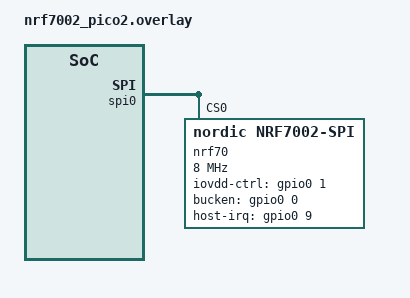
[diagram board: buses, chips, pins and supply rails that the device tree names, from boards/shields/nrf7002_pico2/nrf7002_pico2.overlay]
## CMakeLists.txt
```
cmake_minimum_required(VERSION 3.20.0)

list(APPEND ZEPHYR_EXTRA_MODULES ${CMAKE_CURRENT_LIST_DIR}/modules/pico_usbip_host)
list(APPEND DTS_ROOT ${CMAKE_CURRENT_LIST_DIR}/modules/pico_usbip_host)

find_package(Zephyr REQUIRED HINTS $ENV{ZEPHYR_BASE})
project(pico_usbip_host)

target_sources(app PRIVATE src/main.c)
```

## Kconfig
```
mainmenu "Pico USB/IP host"

config PICO_USBIP_AP_SSID
	string "SoftAP SSID"
	default "USB link"

config PICO_USBIP_AP_PSK
	string "SoftAP WPA2 passphrase (empty for open)"
	default "usbip12345"

config PICO_WIFI_PROBE_ONLY
	bool "Wi-Fi probe mode (LED indicates AP bring-up)"
	default n
	help
	  Minimal runtime for hardware bring-up.

source "Kconfig.zephyr"
```

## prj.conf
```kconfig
CONFIG_LOG=y
CONFIG_LOG_DEFAULT_LEVEL=3

CONFIG_MAIN_STACK_SIZE=12288
CONFIG_HEAP_MEM_POOL_SIZE=98304
CONFIG_SYSTEM_WORKQUEUE_STACK_SIZE=4096

# USB host + USB/IP
CONFIG_USB_HOST_STACK=y
CONFIG_USBIP=y
CONFIG_USBIP_BUF_POOL_SIZE=65536
CONFIG_USBIP_DEVICES_COUNT=2
CONFIG_USBIP_LOG_LEVEL_DBG=y
CONFIG_USBH_LOG_LEVEL_DBG=y
CONFIG_UHC_DRIVER_LOG_LEVEL_DBG=y

CONFIG_UHC_DRIVER=y
CONFIG_UHC_RP2350_PIO_USB=n
CONFIG_UHC_RP2_NATIVE_USB=y
CONFIG_UHC_RP2_NATIVE_USB_LOG_LEVEL_DBG=y

# UART debug console
CONFIG_SERIAL=y
CONFIG_CONSOLE=y
CONFIG_UART_CONSOLE=y

# Networking
CONFIG_NETWORKING=y
CONFIG_NET_IPV4=y
CONFIG_NET_IPV6=n
CONFIG_NET_TCP=y
CONFIG_NET_UDP=y
CONFIG_NET_SOCKETS=y
CONFIG_NET_LOG=y
CONFIG_NET_MAX_CONN=16

CONFIG_NET_DHCPV4=y
CONFIG_NET_DHCPV4_SERVER=y
CONFIG_NET_DHCPV4_SERVER_LOG_LEVEL_DBG=y
CONFIG_NET_DHCPV4_SERVER_ADDR_COUNT=16

CONFIG_NET_PKT_RX_COUNT=16
CONFIG_NET_PKT_TX_COUNT=16
CONFIG_NET_BUF_RX_COUNT=32
CONFIG_NET_BUF_TX_COUNT=32

CONFIG_NET_CONNECTION_MANAGER=y
CONFIG_NET_CONFIG_AUTO_INIT=n

# Wi-Fi (nRF7002 shield)
CONFIG_WIFI=y
CONFIG_WIFI_NM=y
CONFIG_WIFI_USAGE_MODE_STA_AP=y
CONFIG_WIFI_NM_WPA_SUPPLICANT=y
CONFIG_WIFI_NM_WPA_SUPPLICANT_AP=y

CONFIG_WIFI_NRF70=y
CONFIG_NRF70_SYSTEM_MODE=y

CONFIG_NRF70_STA_MODE=y
CONFIG_NRF70_ENABLE_DUAL_VIF=y

CONFIG_NET_L2_WIFI_MGMT=y
CONFIG_NET_L2_ETHERNET=y

CONFIG_NET_MGMT=y
CONFIG_NET_MGMT_EVENT=y
CONFIG_NET_MGMT_EVENT_INFO=y
CONFIG_NET_MGMT_EVENT_QUEUE_SIZE=16
CONFIG_NET_MGMT_EVENT_STACK_SIZE=4096

# Runtime corruption detection
CONFIG_ASSERT=y
CONFIG_INIT_STACKS=y
CONFIG_STACK_SENTINEL=y
# CONFIG_THREAD_STACK_INFO=y
# CONFIG_THREAD_NAME=y
# CONFIG_THREAD_ANALYZER=y

# Application Kconfig
CONFIG_PICO_USBIP_AP_SSID="USB link"
CONFIG_PICO_USBIP_AP_PSK="usbip12345"
```

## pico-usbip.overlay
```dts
/*
 * Copyright (c) 2026
 * SPDX-License-Identifier: Apache-2.0
 *
 * Direct-wire overlay for Pico 2 + nRF7002 + USB-IP host on rpi_pico2/rp2350a/m33.
 *
 * Wiring (Pico GP -> nRF7002-EK):
 *   GP2   -> CLK
 *   GP3   -> MOSI
 *   GP4   -> MISO
 *   GP5   -> SS/CSn (GPIO-managed CS)
 *   GP8   -> HOST_IRQ
 *   GP14  -> BUCK_EN
 *   GP15  -> IOVDD_EN
 *   GP16  -> UART0 TX
 *   GP17  -> UART0 RX
 *
 * COEX, SW_CTRL0 are intentionally left disconnected.
 */

#include <zephyr/dt-bindings/pinctrl/rpi-pico-rp2350a-pinctrl.h>
#include <zephyr/dt-bindings/gpio/gpio.h>

/ {
	zephyr,user {
		/* Host port VBUS enable*/
		vbus-gpios = <&gpio0 22 GPIO_ACTIVE_HIGH>;
	};

	/*
	 * RP2 native USB host controller used by USB/IP.
	 */
	zephyr_uhc0: pio_usb_uhc {
		compatible = "raspberrypi,rp2-usb-uhc";
		status = "okay";
	};

	/* Keep disabled to avoid duplicate native UHC nodes. */
	rp2_usb_uhc {
		compatible = "raspberrypi,rp2-usb-uhc";
		status = "disabled";
	};
};

&spi0 {
	/* Use GPIO-managed CS on GP5 for stable multi-byte transactions. */
	cs-gpios = <&gpio0 5 GPIO_ACTIVE_LOW>;
};

&pinctrl {
	uart0_gp16_gp17: uart0_gp16_gp17 {
		group1 {
			pinmux = <UART0_TX_P16>;
		};
		group2 {
			pinmux = <UART0_RX_P17>;
			input-enable;
		};
	};

	/* Keep hardware SSPFSS off; CS is driven by cs-gpios. */
	spi0_default: spi0_default {
		group1 {
			pinmux = <SPI0_SCK_P2>, <SPI0_TX_P3>;
		};
		group2 {
			pinmux = <SPI0_RX_P4>;
			input-enable;
		};
	};
};

&uart0 {
	pinctrl-0 = <&uart0_gp16_gp17>;
	pinctrl-names = "default";
	current-speed = <115200>;
	status = "okay";
};

&nrf70 {
	/* Override shield defaults with direct control pins. */
	iovdd-ctrl-gpios = <&gpio0 15 GPIO_ACTIVE_HIGH>;
	bucken-gpios = <&gpio0 14 GPIO_ACTIVE_HIGH>;
	host-irq-gpios = <&gpio0 8 GPIO_ACTIVE_HIGH>;

	spi-max-frequency = <25000000>;

	/* Required when CONFIG_NRF70_ENABLE_DUAL_VIF=y (STA+AP mode). */
	wlan1: wlan1 {
		compatible = "nordic,wlan";
	};
};
```

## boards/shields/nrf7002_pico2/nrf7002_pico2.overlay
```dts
/*
 *
 * Custom nRF7002 EK shield for rpi_pico2/rp2350a/m33 (Zephyr 4.1.0).
 *
 * Wires &spi0 directly to the nRF7002 using absolute gpio0 references.
 *
 * Pin mapping:
 *   BUCKEN      GP0   active-high, pull-down
 *   IOVDD_CTRL  GP1   active-high, pull-down
 *   HOST_IRQ    GP9   active-high
 *   SPI SCK     GP18  (SPI0_SCK via pinctrl)
 *   SPI MOSI    GP19  (SPI0_TX  via pinctrl)
 *   SPI MISO    GP16  (SPI0_RX  via pinctrl)
 *   SPI CS      GP17  — GPIO software CS, set by bustest.overlay
 */

#include <freq.h>
#include <zephyr/dt-bindings/gpio/gpio.h>

/ {
	chosen {
		zephyr,wifi = &wlan0;
	};
};

&spi0 {
	status = "okay";

	nrf70: nrf7002-spi@0 {
		compatible = "nordic,nrf7002-spi";
		status = "okay";
		reg = <0>;
		spi-max-frequency = <DT_FREQ_M(8)>;

		iovdd-ctrl-gpios = <&gpio0 1 (GPIO_ACTIVE_HIGH | GPIO_PULL_DOWN)>;
		bucken-gpios     = <&gpio0 0 (GPIO_ACTIVE_HIGH | GPIO_PULL_DOWN)>;
		host-irq-gpios   = <&gpio0 9 GPIO_ACTIVE_HIGH>;

		/* 2.4 GHz TX power ceilings (dBm) */
		wifi-max-tx-pwr-2g-dsss = <21>;
		wifi-max-tx-pwr-2g-mcs0 = <16>;
		wifi-max-tx-pwr-2g-mcs7 = <16>;

		/* 5 GHz TX power ceilings (dBm) */
		wifi-max-tx-pwr-5g-low-mcs0  = <13>;
		wifi-max-tx-pwr-5g-low-mcs7  = <13>;
		wifi-max-tx-pwr-5g-mid-mcs0  = <13>;
		wifi-max-tx-pwr-5g-mid-mcs7  = <13>;
		wifi-max-tx-pwr-5g-high-mcs0 = <12>;
		wifi-max-tx-pwr-5g-high-mcs7 = <12>;

		wlan0: wlan0 {
			compatible = "nordic,wlan";
		};
	};
};
```

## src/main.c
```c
#include <zephyr/kernel.h>
#include <zephyr/logging/log.h>
#include <zephyr/device.h>
#include <zephyr/devicetree.h>
#include <zephyr/drivers/gpio.h>
#include <zephyr/drivers/uart.h>
#include <errno.h>

#include <zephyr/net/dhcpv4_server.h>
#include <zephyr/net/net_if.h>
#include <zephyr/net/net_ip.h>
#include <zephyr/net/wifi_mgmt.h>

LOG_MODULE_REGISTER(app, LOG_LEVEL_INF);


static struct net_if *wifi_sap_iface(void)
{
	return net_if_get_wifi_sap();
}

static int configure_dhcpv4_server(struct net_if *iface, const char *addr_str)
{
	struct net_in_addr pool_base;
	struct net_in_addr addr;
	int ret;

	ret = net_addr_pton(NET_AF_INET, addr_str, &addr);
	if (ret) {
		LOG_ERR("Invalid address %s", addr_str);
		return ret;
	}

	pool_base = addr;
	pool_base.s4_addr[3] += 1U; /* First lease after AP address (e.g. .1 -> pool from .2) */

	return net_dhcpv4_server_start(iface, &pool_base);
}

static int configure_dhcpv4_server_with_retry(struct net_if *iface, const char *addr_str)
{
	int ret;

	for (int attempt = 0; attempt < 10; attempt++) {
		ret = configure_dhcpv4_server(iface, addr_str);
		if (ret != -ENOENT) {
			return ret;
		}

		LOG_WRN("DHCPv4 start deferred (iface not ready), attempt %d/10", attempt + 1);
		k_sleep(K_MSEC(200));
	}

	return ret;
}

static bool wait_for_iface_up(struct net_if *iface, k_timeout_t timeout)
{
	int64_t end_ms = k_uptime_get() + k_ticks_to_ms_floor64(timeout.ticks);

	while (k_uptime_get() < end_ms) {
		if (net_if_is_admin_up(iface) && net_if_is_up(iface)) {
			return true;
		}

		k_sleep(K_MSEC(100));
	}

	return false;
}

static void log_iface_identity(const char *tag, struct net_if *iface)
{
	char if_name[16] = { 0 };
	char src_buf[NET_IPV4_ADDR_LEN];
	char mask_buf[NET_IPV4_ADDR_LEN];
	const struct net_in_addr *src = NULL;
	struct net_in_addr probe_addr;
	struct net_in_addr mask;
	int ret;

	if (iface == NULL) {
		LOG_ERR("%s: iface is NULL", tag);
		return;
	}

	ret = net_if_get_name(iface, if_name, sizeof(if_name));
	if (ret < 0) {
		LOG_WRN("%s: iface=%p idx=%d admin=%d up=%d name_err=%d",
			tag, iface, net_if_get_by_iface(iface),
			net_if_is_admin_up(iface), net_if_is_up(iface), ret);
		return;
	}

	(void)net_addr_pton(NET_AF_INET, "192.168.4.2", &probe_addr);
	src = net_if_ipv4_select_src_addr(iface, &probe_addr);
	mask = src ? net_if_ipv4_get_netmask_by_addr(iface, src) : (struct net_in_addr){ 0 };
	if (src) {
		(void)net_addr_ntop(NET_AF_INET, src, src_buf, sizeof(src_buf));
		(void)net_addr_ntop(NET_AF_INET, &mask, mask_buf, sizeof(mask_buf));
	}

	LOG_INF("%s: iface=%p idx=%d name=%s admin=%d up=%d src=%s mask=%s",
		tag, iface, net_if_get_by_iface(iface), if_name,
		net_if_is_admin_up(iface), net_if_is_up(iface),
		src ? src_buf : "none",
		src ? mask_buf : "none");
}

static int wifi_start_softap(void)
{
	struct net_if *iface = wifi_sap_iface();
	struct wifi_connect_req_params ap = {
		.ssid = (const uint8_t *)CONFIG_PICO_USBIP_AP_SSID,
		.ssid_length = sizeof(CONFIG_PICO_USBIP_AP_SSID) - 1U,
		.channel = WIFI_CHANNEL_ANY,
		.band = WIFI_FREQ_BAND_2_4_GHZ,
	};

	if (iface == NULL) {
		LOG_ERR("Wi-Fi SAP interface not available");
		return -ENODEV;
	}

	if (sizeof(CONFIG_PICO_USBIP_AP_PSK) == 1) {
		ap.security = WIFI_SECURITY_TYPE_NONE;
		ap.psk = NULL;
		ap.psk_length = 0U;
	} else {
		ap.security = WIFI_SECURITY_TYPE_PSK;
		ap.psk = (const uint8_t *)CONFIG_PICO_USBIP_AP_PSK;
		ap.psk_length = sizeof(CONFIG_PICO_USBIP_AP_PSK) - 1U;
	}

	LOG_INF("Starting SoftAP '%s' (channel any)", CONFIG_PICO_USBIP_AP_SSID);

	int ret = net_mgmt(NET_REQUEST_WIFI_AP_ENABLE, iface, &ap, sizeof(ap));
	if (ret == 0) {
		return 0;
	}

	ap.channel = 1U;
	LOG_WRN("SoftAP(any) failed: %d, retrying on channel 1", ret);
	return net_mgmt(NET_REQUEST_WIFI_AP_ENABLE, iface, &ap, sizeof(ap));
}

static void vbus_enable_at_boot(void)
{
#if DT_NODE_HAS_PROP(DT_PATH(zephyr_user), vbus_gpios)
	const struct gpio_dt_spec vbus = GPIO_DT_SPEC_GET(DT_PATH(zephyr_user), vbus_gpios);

	if (!gpio_is_ready_dt(&vbus)) {
		LOG_ERR("VBUS GPIO controller not ready");
		return;
	}

	if (gpio_pin_configure_dt(&vbus, GPIO_OUTPUT_ACTIVE) != 0) {
		LOG_ERR("VBUS GPIO configure failed");
		return;
	}

	LOG_INF("VBUS enable asserted on %s pin %u", vbus.port->name, vbus.pin);
#else
	LOG_WRN("No vbus-gpios in devicetree; enable VBUS in hardware or add zephyr_user,vbus-gpios");
#endif
}

static void wait_for_console_connection(void)
{
	const struct device *const console = DEVICE_DT_GET(DT_CHOSEN(zephyr_console));
	uint32_t dtr = 0U;
	int ret;

	if (!device_is_ready(console)) {
		LOG_ERR("Console device is not ready; continuing without DTR wait");
		return;
	}

	LOG_INF("Waiting for USB serial terminal (DTR) before Wi-Fi init");

	while (true) {
		ret = uart_line_ctrl_get(console, UART_LINE_CTRL_DTR, &dtr);
		if ((ret == 0) && (dtr != 0U)) {
			break;
		}

		if ((ret == -ENOTSUP) || (ret == -ENOSYS)) {
			LOG_WRN("Console does not support line control; skipping DTR wait");
			return;
		}

		k_sleep(K_MSEC(200));
	}

	LOG_INF("USB serial terminal connected");
}

#if DT_NODE_HAS_STATUS(DT_ALIAS(led0), okay)
static const struct gpio_dt_spec heartbeat_led = GPIO_DT_SPEC_GET(DT_ALIAS(led0), gpios);
static bool heartbeat_led_enabled;
static bool heartbeat_led_state;

static void heartbeat_led_init(void)
{
	if (!gpio_is_ready_dt(&heartbeat_led)) {
		LOG_WRN("LED device not ready; heartbeat disabled");
		return;
	}

	if (gpio_pin_configure_dt(&heartbeat_led, GPIO_OUTPUT_INACTIVE) != 0) {
		LOG_WRN("LED pin configure failed; heartbeat disabled");
		return;
	}

	heartbeat_led_enabled = true;
	heartbeat_led_state = false;
}

static void heartbeat_led_toggle(void)
{
	if (!heartbeat_led_enabled) {
		return;
	}

	(void)gpio_pin_set_dt(&heartbeat_led, heartbeat_led_state);
	heartbeat_led_state = !heartbeat_led_state;
}

#endif

int main(void)
{
	k_sleep(K_SECONDS(1));
#if DT_NODE_HAS_STATUS(DT_ALIAS(led0), okay)
	heartbeat_led_init();
#endif
	struct net_if *ap;
	int ret;
	wait_for_console_connection();
	vbus_enable_at_boot();

	ap = wifi_sap_iface();
	if (ap == NULL) {
		LOG_ERR("No SAP iface");
		while (true) {
#if DT_NODE_HAS_STATUS(DT_ALIAS(led0), okay)
			heartbeat_led_toggle();
#endif
			k_sleep(K_MSEC(120));
		}
	}
	log_iface_identity("SAP(before AP enable)", ap);

	struct net_in_addr ap_addr;
	struct net_in_addr netmask;

	ret = wifi_start_softap();
	if (ret) {
		LOG_ERR("SoftAP failed: %d", ret);
	} else {
		LOG_INF("SoftAP enable accepted");
	}
	ap = wifi_sap_iface();
	if (ap == NULL) {
		LOG_ERR("SAP iface unavailable after SoftAP enable");
	}
	log_iface_identity("SAP(after AP enable)", ap);

	net_addr_pton(NET_AF_INET, "192.168.4.1", &ap_addr);
	net_addr_pton(NET_AF_INET, "255.255.255.0", &netmask);

	(void)net_if_up(ap);
	if (!wait_for_iface_up(ap, K_SECONDS(3))) {
		LOG_WRN("AP iface not fully up yet (admin:%d link:%d)",
			net_if_is_admin_up(ap), net_if_is_up(ap));
	}
	log_iface_identity("SAP(before DHCP start)", ap);

	net_if_ipv4_set_gw(ap, &ap_addr);
	if (net_if_ipv4_addr_add(ap, &ap_addr, NET_ADDR_MANUAL, 0) == NULL) {
		LOG_ERR("Failed to set AP IPv4 address");
	}
	if (!net_if_ipv4_set_netmask_by_addr(ap, &ap_addr, &netmask)) {
		LOG_ERR("Failed to set AP netmask");
	}
	LOG_INF("AP IPv4 configured to 192.168.4.1/24");

	ret = configure_dhcpv4_server_with_retry(ap, "192.168.4.1");
	if (ret) {
		LOG_ERR("DHCPv4 server failed: %d", ret);
	}

	LOG_INF("USB/IP runs on port 3240; connect to Wi-Fi '%s' then use usbip on Linux",
		CONFIG_PICO_USBIP_AP_SSID);
	while (true) {
#if DT_NODE_HAS_STATUS(DT_ALIAS(led0), okay)
		heartbeat_led_toggle();
#endif
		k_sleep(K_MSEC(300));
	}
}
```
